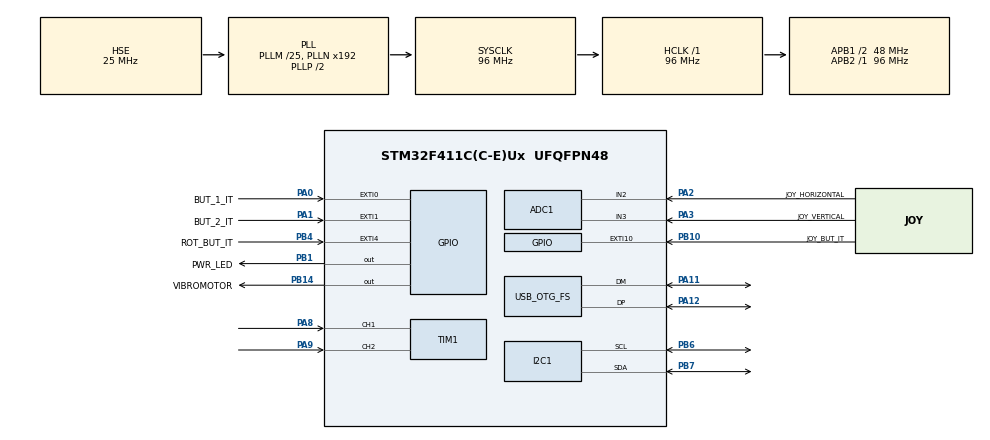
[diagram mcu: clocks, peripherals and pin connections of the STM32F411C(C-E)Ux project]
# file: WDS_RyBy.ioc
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ADC1.Channel-0\#ChannelRegularConversion=ADC_CHANNEL_2
ADC1.Channel-1\#ChannelRegularConversion=ADC_CHANNEL_3
ADC1.ClockPrescaler=ADC_CLOCK_SYNC_PCLK_DIV8
ADC1.ContinuousConvMode=ENABLE
ADC1.DMAContinuousRequests=ENABLE
ADC1.NbrOfConversion=2
ADC1.NbrOfConversionFlag=1
ADC1.Rank-0\#ChannelRegularConversion=1
ADC1.Rank-1\#ChannelRegularConversion=2
ADC1.SamplingTime-0\#ChannelRegularConversion=ADC_SAMPLETIME_480CYCLES
ADC1.SamplingTime-1\#ChannelRegularConversion=ADC_SAMPLETIME_480CYCLES
ADC1.ScanConvMode=ENABLE
ADC1.master=1
Dma.ADC1.0.Direction=DMA_PERIPH_TO_MEMORY
Dma.ADC1.0.FIFOMode=DMA_FIFOMODE_DISABLE
Dma.ADC1.0.Instance=DMA2_Stream0
Dma.ADC1.0.MemDataAlignment=DMA_MDATAALIGN_HALFWORD
Dma.ADC1.0.MemInc=DMA_MINC_ENABLE
Dma.ADC1.0.Mode=DMA_CIRCULAR
Dma.ADC1.0.PeriphDataAlignment=DMA_PDATAALIGN_HALFWORD
Dma.ADC1.0.PeriphInc=DMA_PINC_DISABLE
Dma.ADC1.0.Priority=DMA_PRIORITY_LOW
Dma.Request0=ADC1
I2C1.I2C_Mode=I2C_Fast
Mcu.Family=STM32F4
Mcu.Name=STM32F411C(C-E)Ux
Mcu.Package=UFQFPN48
NVIC.DMA2_Stream0_IRQn=true\:0\:0\:false\:false\:true\:false\:true
NVIC.EXTI0_IRQn=true\:0\:0\:false\:false\:true\:true\:true
NVIC.EXTI15_10_IRQn=true\:0\:0\:false\:false\:true\:true\:true
NVIC.EXTI1_IRQn=true\:0\:0\:false\:false\:true\:true\:true
NVIC.EXTI4_IRQn=true\:0\:0\:false\:false\:true\:true\:true
NVIC.I2C1_ER_IRQn=true\:0\:0\:false\:false\:true\:true\:true
NVIC.I2C1_EV_IRQn=true\:0\:0\:false\:false\:true\:true\:true
NVIC.OTG_FS_IRQn=true\:0\:0\:false\:false\:true\:false\:true
NVIC.PriorityGroup=NVIC_PRIORITYGROUP_4
NVIC.TIM1_BRK_TIM9_IRQn=true\:0\:0\:false\:false\:true\:true\:true
NVIC.TIM1_CC_IRQn=true\:0\:0\:false\:false\:true\:true\:true
NVIC.TIM1_TRG_COM_TIM11_IRQn=true\:0\:0\:false\:false\:true\:true\:true
NVIC.TIM1_UP_TIM10_IRQn=true\:0\:0\:false\:false\:true\:true\:true
PA0-WKUP.GPIO_Label=BUT_1_IT
PA0-WKUP.GPIO_ModeDefaultEXTI=GPIO_MODE_IT_FALLING
PA0-WKUP.GPIO_PuPd=GPIO_PULLUP
PA0-WKUP.Signal=GPXTI0
PA1.GPIO_Label=BUT_2_IT
PA1.GPIO_ModeDefaultEXTI=GPIO_MODE_IT_FALLING
PA1.GPIO_PuPd=GPIO_PULLUP
PA1.Signal=GPXTI1
PA11.Mode=Device_Only
PA11.Signal=USB_OTG_FS_DM
PA12.Mode=Device_Only
PA12.Signal=USB_OTG_FS_DP
PA13.Mode=Serial_Wire
PA13.Signal=SYS_JTMS-SWDIO
PA14.Mode=Serial_Wire
PA14.Signal=SYS_JTCK-SWCLK
PA2.GPIO_Label=JOY_HORIZONTAL
PA2.Signal=ADCx_IN2
PA3.GPIO_Label=JOY_VERTICAL
PA3.Signal=ADCx_IN3
PA8.GPIO_PuPd=GPIO_PULLUP
PA8.Signal=S_TIM1_CH1
PA9.GPIO_PuPd=GPIO_PULLUP
PA9.Signal=S_TIM1_CH2
PB1.GPIO_Label=PWR_LED
PB1.Signal=GPIO_Output
PB10.GPIO_Label=JOY_BUT_IT
PB10.GPIO_ModeDefaultEXTI=GPIO_MODE_IT_FALLING
PB10.GPIO_PuPd=GPIO_PULLUP
PB10.Signal=GPXTI10
PB14.GPIO_Label=VIBROMOTOR
PB14.Signal=GPIO_Output
PB4.GPIO_Label=ROT_BUT_IT
PB4.GPIO_ModeDefaultEXTI=GPIO_MODE_IT_FALLING
PB4.GPIO_PuPd=GPIO_PULLUP
PB4.Signal=GPXTI4
PB6.GPIO_PuPdOD=GPIO_NOPULL
PB6.Mode=I2C
PB6.Signal=I2C1_SCL
PB7.GPIO_PuPdOD=GPIO_NOPULL
PB7.Mode=I2C
PB7.Signal=I2C1_SDA
PC14-OSC32_IN.Mode=LSE-External-Oscillator
PC14-OSC32_IN.Signal=RCC_OSC32_IN
PC15-OSC32_OUT.Mode=LSE-External-Oscillator
PC15-OSC32_OUT.Signal=RCC_OSC32_OUT
PH0\ -\ OSC_IN.Mode=HSE-External-Oscillator
PH0\ -\ OSC_IN.Signal=RCC_OSC_IN
PH1\ -\ OSC_OUT.Mode=HSE-External-Oscillator
PH1\ -\ OSC_OUT.Signal=RCC_OSC_OUT
ProjectManager.HeapSize=0x200
ProjectManager.StackSize=0x400
ProjectManager.TargetToolchain=STM32CubeIDE
RCC.48MHZClocksFreq_Value=48000000
RCC.AHBFreq_Value=96000000
RCC.APB1CLKDivider=RCC_HCLK_DIV2
RCC.APB1Freq_Value=48000000
RCC.APB1TimFreq_Value=96000000
RCC.APB2Freq_Value=96000000
RCC.APB2TimFreq_Value=96000000
RCC.CortexFreq_Value=96000000
RCC.HCLKFreq_Value=96000000
RCC.HSE_VALUE=25000000
RCC.HSI_VALUE=16000000
RCC.PLLM=25
RCC.SYSCLKFreq_VALUE=96000000
RCC.SYSCLKSource=RCC_SYSCLKSOURCE_PLLCLK
RCC.VCOOutputFreq_Value=192000000
SH.ADCx_IN2.0=ADC1_IN2,IN2
SH.ADCx_IN3.0=ADC1_IN3,IN3
SH.S_TIM1_CH1.0=TIM1_CH1,Encoder_Interface
SH.S_TIM1_CH2.0=TIM1_CH2,Encoder_Interface
TIM1.AutoReloadPreload=TIM_AUTORELOAD_PRELOAD_ENABLE
TIM1.EncoderMode=TIM_ENCODERMODE_TI12
TIM1.IC1Filter=10
TIM1.IC1Polarity=TIM_ICPOLARITY_FALLING
TIM1.IC2Filter=10
TIM1.IC2Polarity=TIM_ICPOLARITY_FALLING
USB_DEVICE.CLASS_NAME_FS=CDC
USB_DEVICE.PRODUCT_STRING_CDC_FS=Kontroler Wedka COM
USB_DEVICE.VirtualMode=Cdc
USB_DEVICE.VirtualModeFS=Cdc_FS
USB_OTG_FS.VirtualMode=Device_Only
VP_CRC_VS_CRC.Mode=CRC_Activate
VP_USB_DEVICE_VS_USB_DEVICE_CDC_FS.Mode=CDC_FS
board=custom

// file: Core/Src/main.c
/* USER CODE BEGIN Header */
/**
 ******************************************************************************
 * @file           : main.c
 * @brief          : Main program body
 ******************************************************************************
 * @attention
 *
 * <h2><center>&copy; Copyright (c) 2022 STMicroelectronics.
 * All rights reserved.</center></h2>
 *
 * This software component is licensed by ST under BSD 3-Clause license,
 * the "License"; You may not use this file except in compliance with the
 * License. You may obtain a copy of the License at:
 *                        opensource.org/licenses/BSD-3-Clause
 *
 ******************************************************************************
 */
/* USER CODE END Header */
#include "main.h"
#include "adc.h"
#include "crc.h"
#include "dma.h"
#include "i2c.h"
#include "tim.h"
#include "usb_device.h"
#include "gpio.h"

/* USER CODE BEGIN Includes */
#include <stdio.h>
#include <string.h>
#include "usbd_cdc_if.h"
#include "mpu6050.h"

/* USER CODE END Includes */

/* USER CODE BEGIN PV */

//---- Akcelerometr i żyroskop ----
MPU6050_t MPU6050;
uint16_t akcelerometr[3] = {0,0,0};
uint16_t zyroskop[3] = {0,0,0};
//----

//---- Przyciski ----
volatile uint8_t przyciski[2] = {0,0};
//----

//---- Joystick ----
uint16_t Joystick[2] = {0,0};
volatile uint8_t JoyBut = 0;
//----

//--- Enkoder obrotowy ----
volatile uint32_t counter = 0;
volatile int16_t count = 0;
//----

//---- USB Vitural COM ----
uint8_t DataToSend[40]; // Tablica zawierajaca dane do wyslania
uint8_t DataToRead[64]; // Tablica zawierajaca dane do wyslania

uint8_t MessageCounter = 0; // Licznik wyslanych wiadomosci
uint8_t MessageLength = 0; // Zawiera dlugosc wysylanej wiadomosci
//----

/* USER CODE END PV */

void SystemClock_Config(void);

int main(void)
{

  /* MCU Configuration--------------------------------------------------------*/

  /* Reset of all peripherals, Initializes the Flash interface and the Systick. */
  HAL_Init();

  /* Configure the system clock */
  SystemClock_Config();

  /* Initialize all configured peripherals */
  MX_GPIO_Init();
  MX_DMA_Init();
  MX_ADC1_Init();
  MX_I2C1_Init();
  MX_TIM1_Init();
  MX_USB_DEVICE_Init();
  MX_CRC_Init();
  /* USER CODE BEGIN 2 */

	//---- Akcelerometr i żyroskop
	while (MPU6050_Init(&hi2c1) == 1);
	//MPU6050_Init(&hi2c1);

	//---- Joystick ciągły pomiar
	HAL_ADC_Start_DMA(&hadc1, Joystick, 2);

	//---- Inicjalizacja enkodera
	HAL_TIM_Encoder_Start_IT(&htim1, TIM_CHANNEL_ALL);

	//---- LED oznaczający zakończenie setupu
	HAL_GPIO_WritePin(PWR_LED_GPIO_Port, PWR_LED_Pin, 1);

  /* USER CODE END 2 */

  /* Infinite loop */
  /* USER CODE BEGIN WHILE */
	while (1)
	{
		++MessageCounter;
		Joystick[0] /= 40.96;
		Joystick[1] /= 40.96;
		MPU6050_Read_All(&hi2c1, &MPU6050);
		akcelerometr[0] = MPU6050.Ax;
		akcelerometr[1] = MPU6050.Ay;
		akcelerometr[2] = MPU6050.Az;
		zyroskop[0] = MPU6050.Gx;
		zyroskop[0] = MPU6050.Gy;
		zyroskop[0] = MPU6050.Gz;
		MessageLength = sprintf(DataToSend, "W %d %d %d %d %d %d %d %d %d %d %d %d \n\r", akcelerometr[0], akcelerometr[1], akcelerometr[2], zyroskop[0], zyroskop[0], zyroskop[0], przyciski[0], przyciski[1], Joystick[0], Joystick[1], JoyBut, count);
		uint16_t crc = HAL_CRC_Accumulate(&hcrc, (uint32_t*)DataToSend, sizeof(DataToSend)/(sizeof(uint32_t)));
		MessageLength = sprintf(DataToSend, "W %d %d %d %d %d %d %d %d %d %d %d %d %d \n\r", akcelerometr[0], akcelerometr[1], akcelerometr[2], zyroskop[0], zyroskop[0], zyroskop[0], przyciski[0], przyciski[1], Joystick[0], Joystick[1], JoyBut, count, crc);
		CDC_Transmit_FS(DataToSend, MessageLength);
		przyciski[0] = 0;
		przyciski[1] = 0;
		JoyBut = 0;
	    if(DataToRead[0] == 'e')
	    	HAL_GPIO_WritePin(VIBROMOTOR_GPIO_Port, VIBROMOTOR_Pin, 1);
	    else if(DataToRead == "j")
	    	HAL_GPIO_WritePin(VIBROMOTOR_GPIO_Port, VIBROMOTOR_Pin, 0);
		HAL_Delay(200);
    /* USER CODE END WHILE */

	}
}

void SystemClock_Config(void)
{
  RCC_OscInitTypeDef RCC_OscInitStruct = {0};
  RCC_ClkInitTypeDef RCC_ClkInitStruct = {0};

  /** Configure the main internal regulator output voltage
  */
  __HAL_RCC_PWR_CLK_ENABLE();
  __HAL_PWR_VOLTAGESCALING_CONFIG(PWR_REGULATOR_VOLTAGE_SCALE1);
  /** Initializes the RCC Oscillators according to the specified parameters
  * in the RCC_OscInitTypeDef structure.
  */
  RCC_OscInitStruct.OscillatorType = RCC_OSCILLATORTYPE_HSE;
  RCC_OscInitStruct.HSEState = RCC_HSE_ON;
  RCC_OscInitStruct.PLL.PLLState = RCC_PLL_ON;
  RCC_OscInitStruct.PLL.PLLSource = RCC_PLLSOURCE_HSE;
  RCC_OscInitStruct.PLL.PLLM = 25;
  RCC_OscInitStruct.PLL.PLLN = 192;
  RCC_OscInitStruct.PLL.PLLP = RCC_PLLP_DIV2;
  RCC_OscInitStruct.PLL.PLLQ = 4;
  if (HAL_RCC_OscConfig(&RCC_OscInitStruct) != HAL_OK)
  {
    Error_Handler();
  }
  /** Initializes the CPU, AHB and APB buses clocks
  */
  RCC_ClkInitStruct.ClockType = RCC_CLOCKTYPE_HCLK|RCC_CLOCKTYPE_SYSCLK
                              |RCC_CLOCKTYPE_PCLK1|RCC_CLOCKTYPE_PCLK2;
  RCC_ClkInitStruct.SYSCLKSource = RCC_SYSCLKSOURCE_PLLCLK;
  RCC_ClkInitStruct.AHBCLKDivider = RCC_SYSCLK_DIV1;
  RCC_ClkInitStruct.APB1CLKDivider = RCC_HCLK_DIV2;
  RCC_ClkInitStruct.APB2CLKDivider = RCC_HCLK_DIV1;

  if (HAL_RCC_ClockConfig(&RCC_ClkInitStruct, FLASH_LATENCY_3) != HAL_OK)
  {
    Error_Handler();
  }
}

/* USER CODE BEGIN 4 */

void HAL_TIM_IC_CaptureCallback(TIM_HandleTypeDef *htim)
{
	counter = __HAL_TIM_GET_COUNTER(htim);
	count = (int16_t)counter;
}

void HAL_GPIO_EXTI_Callback(uint16_t GPIO_Pin)
{
	if(GPIO_Pin == JOY_BUT_IT_Pin){
		JoyBut = 1;
	}
	if(GPIO_Pin == BUT_1_IT_Pin){
		przyciski[0] = 1;
	}
	if(GPIO_Pin == BUT_2_IT_Pin){
		przyciski[1] = 1;
	}
}

/* USER CODE END 4 */

void Error_Handler(void)
{
}

/************************ (C) COPYRIGHT STMicroelectronics *****END OF FILE****/
